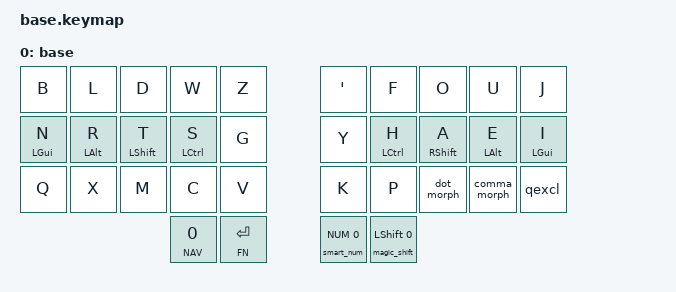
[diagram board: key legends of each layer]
#include <behaviors.dtsi>
#include <behaviors/num_word.dtsi> // requires auto-layer module
#include <dt-bindings/zmk/outputs.h>
#include <dt-bindings/zmk/keys.h>
#ifdef CONFIG_WIRELESS
  #include <dt-bindings/zmk/bt.h>
  #include <dt-bindings/zmk/outputs.h>
  #define _BT_SEL_KEYS_                                                        \
      &bt BT_SEL 0 &bt BT_SEL 1 &bt BT_SEL 2 &bt BT_SEL 3 &bt BT_SEL 4 &bt BT_CLR
#else
  #define _BT_SEL_KEYS_ &trans &trans &trans &trans &trans &trans
#endif

#include "zmk-helpers/helper.h"
#include "zmk-helpers/unicode-chars/greek.dtsi"
#include "zmk-helpers/unicode-chars/german.dtsi"

#define DEF 0
#define NAV 1
#define FN 2
#define NUM 3
#define SYS 4
#define MOUSE 5

#define XXX &none
#define ___ &trans

/* Global defaults */

#define QUICK_TAP_MS 175

&sk {
  release-after-ms = <900>;
  quick-release;
};

&sl { // Allow sticky mods to chord across sticky layers.
  ignore-modifiers;
};

&lt {
  flavor = "balanced";
  tapping-term-ms = <200>;
  quick-tap-ms = <QUICK_TAP_MS>;
};

/* Homerow mods */

#define KEYS_L LT0 LT1 LT2 LT3 LT4 LM0 LM1 LM2 LM3 LM4 LB0 LB1 LB2 LB3 LB4
#define KEYS_R RT0 RT1 RT2 RT3 RT4 RM0 RM1 RM2 RM3 RM4 RB0 RB1 RB2 RB3 RB4
#ifndef LH2
  #define THUMBS LH1 LH0 RH0 RH1         // Thumbs on 34 keys.
#else
  #define THUMBS LH2 LH1 LH0 RH0 RH1 RH2 // Thumbs on 36+ keys.
#endif

#define MAKE_HRM(NAME, HOLD, TAP, TRIGGER_POS)                                 \
  ZMK_HOLD_TAP(NAME, bindings = <HOLD>, <TAP>; flavor = "balanced";            \
               tapping-term-ms = <280>; quick-tap-ms = <QUICK_TAP_MS>;         \
               require-prior-idle-ms = <150>; hold-trigger-on-release;         \
               hold-trigger-key-positions = <TRIGGER_POS>;)

MAKE_HRM(hml, &kp, &kp, KEYS_R THUMBS) // Left-hand HRMs.
MAKE_HRM(hmr, &kp, &kp, KEYS_L THUMBS) // Right-hand HRMs.

// Hack: Make HRM combos tap-only (cf, ZMK issue #544).
#define ZMK_COMBO_8(NAME, TAP, POS, LAYERS, COMBO_MS, IDLE_MS, HOLD, SIDE)     \
  MAKE_HRM(hm_combo_##NAME, &kp, TAP, SIDE THUMBS)                             \
  ZMK_COMBO_6(NAME, &hm_combo_##NAME HOLD 0, POS, LAYERS, COMBO_MS, IDLE_MS)

/* Combos, leader key sequences, mouse emulation */

#include "combos.dtsi" // Must be sourced after HRM-combo hack.
#include "leader.dtsi"
#include "mouse.dtsi"

/* Nav cluster */

// Trigger tap-action on all interrupts.
#define MT_CORE                                                                \
  flavor = "tap-preferred";                                                    \
  tapping-term-ms = <220>;                                                     \
  quick-tap-ms = <220>;                                                        \
  hold-trigger-key-positions = <0>;

&mt { MT_CORE };

ZMK_HOLD_TAP(mt_home, bindings = <&masked_home>, <&kp>; MT_CORE)
ZMK_HOLD_TAP(mt_end, bindings = <&masked_end>, <&kp>; MT_CORE)

#define NAV_LEFT  &mt_home 0   LEFT  // Tap: left  | Long-tap: start of line.
#define NAV_RIGHT &mt_end 0    RIGHT // Tap: right | Long-tap: end   of line.
#define NAV_UP    &mt LC(HOME) UP    // Tap: up    | Long-tap: start of doc.
#define NAV_DOWN  &mt LC(END)  DOWN  // Tap: down  | Long-tap: end   of doc.
#define NAV_BSPC  &mt LC(BSPC) BSPC  // Tap: bspc  | Long-tap: delete word bwd.
#define NAV_DEL   &mt LC(DEL)  DEL   // Tap: del   | Long-tap: delete word fwd.

// Mask CTRL on left/right hold to avoid accidental jumps to start/end of doc.
#define MASK_MODS(NAME, MODS, BINDING)                                         \
  ZMK_MOD_MORPH(NAME, bindings = <BINDING>, <BINDING>; mods = <MODS>;)

MASK_MODS(masked_home, (MOD_LCTL), &kp HOME)
MASK_MODS(masked_end,  (MOD_LCTL), &kp END)

/* Magic-shift & auto-layers */

// Tap: repeat after alpha, else sticky-shift |
// Shift + tap/ double-tap: caps-word | Hold: shift.
#define MAGIC_SHIFT &magic_shift LSHFT 0
ZMK_HOLD_TAP(magic_shift, bindings = <&kp>, <&magic_shift_tap>;
             flavor = "balanced"; tapping-term-ms = <200>;
             quick-tap-ms = <QUICK_TAP_MS>;)
ZMK_MOD_MORPH(magic_shift_tap, bindings = <&shift_repeat>, <&caps_word>;
              mods = <(MOD_LSFT)>;)
ZMK_ADAPTIVE_KEY(
    shift_repeat, bindings = <&sk LSHFT>;
    repeat {
      trigger-keys = <A B C D E F G H I J K L M N O P Q R S T U V W X Y Z>;
      bindings = <&key_repeat>;
      max-prior-idle-ms = <1200>;
      strict-modifiers;
    };)
&caps_word { // Mods deactivate caps-word, requires PR #1451. [TODO: rebase]
  /delete-property/ ignore-modifiers;
};

// Tap: num-word | double-tap: sticky num-layer | Hold: num-layer.
#define SMART_NUM &smart_num NUM 0
ZMK_HOLD_TAP(smart_num, bindings = <&mo>, <&num_dance>; flavor = "balanced";
             tapping-term-ms = <200>; quick-tap-ms = <QUICK_TAP_MS>;)
ZMK_TAP_DANCE(num_dance, bindings = <&num_word NUM>, <&sl NUM>;
              tapping-term-ms = <200>;)

// Smart-mouse, requires tri-state module.
ZMK_TRI_STATE(
    smart_mouse, bindings = <&tog MOUSE>, <&none>, <&tog MOUSE>;
    ignored-key-positions =
        <LT1 LT2 LH0 LH1 RT1 RT2 RT3 RM0 RM1 RM2 RM3 RM4 RB1 RB2 RB3 RH0 RH1>;
    ignored-layers = <MOUSE NAV FN>;)

/* Custom behaviors */

// Alt+Tab swapper, requires tri-state module.
ZMK_TRI_STATE(swapper, bindings = <&kt LALT>, <&kp TAB>, <&kt LALT>;
              ignored-key-positions = <LT2 RT2 RM1 RM2 RM3>;)

// Define mod-morph with a *single* mod trigger for less repetition.
#define SIMPLE_MORPH(NAME, MOD, BINDING1, BINDING2)                            \
  ZMK_MOD_MORPH(NAME, mods = <(MOD_L##MOD | MOD_R##MOD)>;                      \
                bindings = <BINDING1>, <BINDING2>;)

// Tap: comma | Shift + tap: semicolon | Ctrl + shift + tap: <.
SIMPLE_MORPH(comma_morph, SFT, &kp COMMA, &comma_inner_morph)
SIMPLE_MORPH(comma_inner_morph, CTL, &kp SEMICOLON, &kp LESS_THAN)

// Tap: dot | Shift + tap: colon | Ctrl + shift + tap: >.
SIMPLE_MORPH(dot_morph, SFT, &kp DOT, &dot_inner_morph)
SIMPLE_MORPH(dot_inner_morph, CTL, &kp COLON, &kp GREATER_THAN)

// Tap: qmark | Shift + tap: excl.
SIMPLE_MORPH(qexcl, SFT, &kp QMARK, &kp EXCL)

// Tap: left/right parenthesis | Shft + tap: less-than/greater-than.
SIMPLE_MORPH(lpar_lt, SFT, &kp LPAR, &kp LT)
SIMPLE_MORPH(rpar_gt, SFT, &kp RPAR, &kp GT)

// Tap: space | Shift + tap: dot -> space -> sticky shift | Hold: nav layer.
ZMK_HOLD_TAP(lt_spc, bindings = <&mo>, <&spc_morph>; flavor = "balanced";
             tapping-term-ms = <200>; quick-tap-ms = <QUICK_TAP_MS>;)
// tap: ; | shift + tap: :
SIMPLE_MORPH(semicolon, SFT, &kp SEMI, &kp COLON)

// tap: , | shift + tap: ?
SIMPLE_MORPH(commaquest, SFT, &kp COMMA, &kp QUESTION)

// tap: - | shift + tap: "
SIMPLE_MORPH(minusdqt, SFT, &kp MINUS, &kp DQT)

// tap: / | shift + tap: <
SIMPLE_MORPH(slshless, SFT, &kp SLASH, &kp LT)

// tap: ` | shft + tap: ~
SIMPLE_MORPH(grvtilde, SFT, &kp GRAVE, &kp TILDE)

SIMPLE_MORPH(spc_morph, SFT, &kp SPACE, &dot_spc)
ZMK_MACRO(dot_spc, bindings = <&kp DOT &kp SPACE &sk LSHFT>; wait-ms = <0>;
          tap-ms = <5>;)

// Tap: backspace | Lshft + tap: delete | Rshft + tap: shift-delete.
ZMK_MOD_MORPH(bs_del, bindings = <&kp BSPC>, <&kp DEL>;
              mods = <(MOD_LSFT|MOD_RSFT)>; keep-mods = <MOD_RSFT>;)

// Tap: copy | double-tap: cut.
ZMK_TAP_DANCE(copy_cut, bindings = <&kp LC(C)>, <&kp LC(X)>;
              tapping-term-ms = <200>;)
// tap: ' | shft + tap: _
ZMK_MOD_MORPH(sqt_under,
    bindings = <&kp SQT>, <&kp UNDERSCORE>;
    mods = <(MOD_LSFT|MOD_RSFT)>;
)

// Sticky shift + leader.
ZMK_MACRO(leader_sft, bindings = <&sk LSHFT &leader>;)

// Misc aliases. [TODO: clean up]
#define CANCEL    &kp K_CANCEL            // Cancel caps-word & auto-layers.
#define DSK_PREV  &hmr LCTRL LG(LC(LEFT)) // Previous desktop.
#define DSK_NEXT  &hmr LALT LG(LC(RIGHT)) // Next     desktop.
#define PIN_WIN   &kp LG(LC(LS(Q)))       // Pin window across desktops.
#define PIN_APP   &kp LG(LC(LS(A)))       // Pin application across desktops.
#define DSK_MGR   &kp LA(GRAVE)           // Desktop manager.
#define VOL_DOWN  &hmr RSHFT C_VOL_DN

/* Keymap */

ZMK_CONDITIONAL_LAYER(sys, FN NUM, SYS) // FN + NUM --> SYS.

#ifndef ZMK_BASE_LAYER
  #define ZMK_BASE_LAYER(name, LT, RT, LM, RM, LB, RB, LH, RH)                 \
      ZMK_LAYER(name, LT RT LM RM LB RB LH RH)
#endif

/* Graphite Layout https://github.com/rdavison/graphite-layout */
ZMK_LAYER(base,
//╭─────────────┬─────────────┬─────────────┬─────────────┬─────────────╮ ╭─────────────┬─────────────┬─────────────┬─────────────┬─────────────╮
    &kp B         &kp L         &kp D         &kp W         &kp Z           &kp SQT       &kp F         &kp O         &kp U         &kp J
//├─────────────┼─────────────┼─────────────┼─────────────┼─────────────┤ ├─────────────┼─────────────┼─────────────┼─────────────┼─────────────┤
    &hml LGUI N   &hml LALT R   &hml LSHFT T  &hml LCTRL S  &kp G           &kp Y         &hmr LCTRL H  &hmr RSHFT A  &hmr LALT E   &hmr LGUI I
//├─────────────┼─────────────┼─────────────┼─────────────┼─────────────┤ ├─────────────┼─────────────┼─────────────┼─────────────┼─────────────┤
    &kp Q         &kp X         &kp M         &kp C         &kp V           &kp K         &kp P         &dot_morph    &comma_morph  &qexcl
//╰─────────────┼─────────────┴─────────────┼─────────────┼─────────────┤ ├─────────────┼─────────────┼─────────────┴───────────────────────────╯
                                              &lt_spc NAV 0 &lt FN RET      SMART_NUM     MAGIC_SHIFT
//                                          ╰─────────────┴─────────────╯ ╰─────────────┴─────────────╯
)

ZMK_BASE_LAYER(Nav,
//╭─────────────┬─────────────┬─────────────┬─────────────┬─────────────╮ ╭─────────────┬─────────────┬─────────────┬─────────────┬─────────────╮
    &swapper      NAV_BSPC      NAV_UP        NAV_DEL       ___         ,   &kp PG_UP     NAV_BSPC      NAV_UP        NAV_DEL       ___         ,
//├─────────────┼─────────────┼─────────────┼─────────────┼─────────────┤ ├─────────────┼─────────────┼─────────────┼─────────────┼─────────────┤
    &kp PG_DN     NAV_LEFT      NAV_DOWN      NAV_RIGHT     ___         ,   &kp PG_DN     NAV_LEFT      NAV_DOWN      NAV_RIGHT     &kp RET     ,
//├─────────────┼─────────────┼─────────────┼─────────────┼─────────────┤ ├─────────────┼─────────────┼─────────────┼─────────────┼─────────────┤
    ___           &sk RALT      &sk RSHFT     &sk RCTRL     ___         ,   &kp INS       &kp TAB       &kp LT        &kp GT        &kp SEMI    ,
//╰─────────────┼─────────────┴─────────────┼─────────────┼─────────────┤ ├─────────────┼─────────────┼─────────────┴─────────────┴─────────────╯
                                              ___           ___         ,   ___           CANCEL
//                                          ╰─────────────┴─────────────╯ ╰─────────────┴─────────────╯
)

ZMK_BASE_LAYER(Fn,
//╭─────────────┬─────────────┬─────────────┬─────────────┬─────────────╮ ╭─────────────┬─────────────┬─────────────┬─────────────┬─────────────╮
    &kp F12       &kp F7        &kp F8        &kp F9        ___         ,   &kp C_BRI_UP  &kp C_PREV    &kp C_VOL_UP  &kp C_NEXT    ___         ,
//├─────────────┼─────────────┼─────────────┼─────────────┼─────────────┤ ├─────────────┼─────────────┼─────────────┼─────────────┼─────────────┤
    &hml LGUI F11 &hml LALT F4  &hml LSHFT F5 &hml LCTRL F6 ___         ,   &kp C_BRI_DN  DSK_PREV      VOL_DOWN      DSK_NEXT      ___         ,
//├─────────────┼─────────────┼─────────────┼─────────────┼─────────────┤ ├─────────────┼─────────────┼─────────────┼─────────────┼─────────────┤
    &kp F10       &kp F1        &kp F2        &kp F3        ___         ,   PIN_APP       PIN_WIN       DSK_MGR       ___           ___         ,
//╰─────────────┼─────────────┴─────────────┼─────────────┼─────────────┤ ├─────────────┼─────────────┼─────────────┴───────────────────────────╯
                                              ___           ___         ,   &kp C_MUTE    &kp C_PP
//                                          ╰─────────────┴─────────────╯ ╰─────────────┴─────────────╯
)

ZMK_BASE_LAYER(Num,
//╭─────────────┬─────────────┬─────────────┬─────────────┬─────────────╮ ╭─────────────┬─────────────┬─────────────┬─────────────┬─────────────╮
    ___           &kp N7        &kp N8        &kp N9        ___         ,   ___           ___           ___           ___           ___         ,
//├─────────────┼─────────────┼─────────────┼─────────────┼─────────────┤ ├─────────────┼─────────────┼─────────────┼─────────────┼─────────────┤
    &hml LGUI N0  &hml LALT N4  &hml LSHFT N5 &hml LCTRL N6 ___         ,   ___           ___           ___           ___           ___         ,
//├─────────────┼─────────────┼─────────────┼─────────────┼─────────────┤ ├─────────────┼─────────────┼─────────────┼─────────────┼─────────────┤
    ___           &kp N1        &kp N2        &kp N3        ___         ,   ___           ___           ___           ___           ___         ,
//╰─────────────┼─────────────┴─────────────┼─────────────┼─────────────┤ ├─────────────┼─────────────┼─────────────┴───────────────────────────╯
                                              ___           ___         ,   ___           ___
//                                          ╰─────────────┴─────────────╯ ╰─────────────┴─────────────╯
)

ZMK_BASE_LAYER(Sys,
//╭─────────────┬─────────────┬─────────────┬─────────────┬─────────────╮ ╭─────────────┬─────────────┬─────────────┬─────────────┬─────────────╮
                               _BT_SEL_KEYS_                                            , ___           ___           ___           &kp C_SLEEP ,
//├─────────────┼─────────────┼─────────────┼─────────────┼─────────────┤ ├─────────────┼─────────────┼─────────────┼─────────────┼─────────────┤
    &out OUT_TOG  ___           ___           ___           &bootloader ,   &bootloader   ___           ___           ___           ___         ,
//├─────────────┼─────────────┼─────────────┼─────────────┼─────────────┤ ├─────────────┼─────────────┼─────────────┼─────────────┼─────────────┤
    ___           ___           ___           ___           &sys_reset  ,   &sys_reset    ___           ___           ___           ___         ,
//╰─────────────┼─────────────┴─────────────┼─────────────┼─────────────┤ ├─────────────┼─────────────┼─────────────┴───────────────────────────╯
                                              ___           ___         ,   ___           ___
//                                          ╰─────────────┴─────────────╯ ╰─────────────┴─────────────╯
)

ZMK_BASE_LAYER(Mouse,
//╭─────────────┬─────────────┬─────────────┬─────────────┬─────────────╮ ╭─────────────┬─────────────┬─────────────┬─────────────┬─────────────╮
    ___           ___           ___           ___           ___         ,   ___           &kp PG_UP     U_MS_U         &kp PG_DN    ___         ,
//├─────────────┼─────────────┼─────────────┼─────────────┼─────────────┤ ├─────────────┼─────────────┼─────────────┼─────────────┼─────────────┤
    ___           ___           ___           ___           ___         ,   U_WH_L        U_MS_L        U_MS_D         U_MS_R       U_WH_R      ,
//├─────────────┼─────────────┼─────────────┼─────────────┼─────────────┤ ├─────────────┼─────────────┼─────────────┼─────────────┼─────────────┤
    ___           ___           ___           ___           ___         ,   ___           &mkp LCLK     &mkp MCLK      &mkp RCLK    ___         ,
//╰─────────────┼─────────────┴─────────────┼─────────────┼─────────────┤ ├─────────────┼─────────────┼─────────────┴───────────────────────────╯
                                              ___           ___         ,   U_WH_U        U_WH_D
//                                          ╰─────────────┴─────────────╯ ╰─────────────┴─────────────╯
)

/* vim: set ft=c tw=146: */
